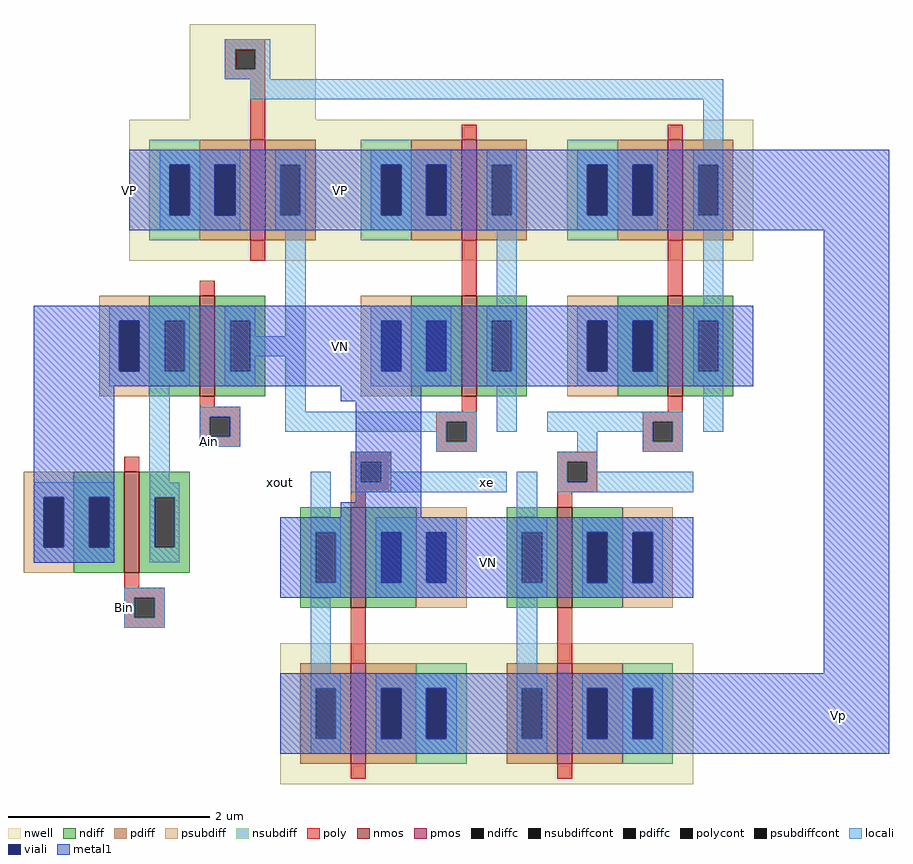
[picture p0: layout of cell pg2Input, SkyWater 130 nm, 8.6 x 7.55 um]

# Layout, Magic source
magic
tech sky130A
<< nwell >>
rect -155 325 -30 420
rect -215 185 -5 325
<< nmos >>
rect -145 50 -130 150
rect -220 -125 -205 -25
<< pmos >>
rect -95 205 -80 305
<< ndiff >>
rect -195 125 -145 150
rect -195 75 -180 125
rect -160 75 -145 125
rect -195 50 -145 75
rect -130 125 -80 150
rect -130 75 -115 125
rect -95 75 -80 125
rect -130 50 -80 75
rect -270 -50 -220 -25
rect -270 -100 -255 -50
rect -235 -100 -220 -50
rect -270 -125 -220 -100
rect -205 -50 -155 -25
rect -205 -100 -190 -50
rect -170 -100 -155 -50
rect -205 -125 -155 -100
<< pdiff >>
rect -145 280 -95 305
rect -145 230 -130 280
rect -110 230 -95 280
rect -145 205 -95 230
rect -80 280 -30 305
rect -80 230 -65 280
rect -45 230 -30 280
rect -80 205 -30 230
<< ndiffc >>
rect -180 75 -160 125
rect -115 75 -95 125
rect -255 -100 -235 -50
rect -190 -100 -170 -50
<< pdiffc >>
rect -130 230 -110 280
rect -65 230 -45 280
<< psubdiff >>
rect -245 125 -195 150
rect -245 75 -225 125
rect -205 75 -195 125
rect -245 50 -195 75
rect -320 -50 -270 -25
rect -320 -100 -300 -50
rect -280 -100 -270 -50
rect -320 -125 -270 -100
<< nsubdiff >>
rect -195 280 -145 305
rect -195 230 -175 280
rect -155 230 -145 280
rect -195 205 -145 230
<< psubdiffcont >>
rect -225 75 -205 125
rect -300 -100 -280 -50
<< nsubdiffcont >>
rect -175 230 -155 280
<< poly >>
rect -120 395 -80 405
rect -120 375 -110 395
rect -90 375 -80 395
rect -120 365 -80 375
rect -95 305 -80 365
rect -95 185 -80 205
rect -145 150 -130 165
rect -145 40 -130 50
rect -145 30 -105 40
rect -145 10 -135 30
rect -115 10 -105 30
rect -145 0 -105 10
rect -220 -25 -205 -10
rect -220 -140 -205 -125
rect -220 -150 -180 -140
rect -220 -170 -210 -150
rect -190 -170 -180 -150
rect -220 -180 -180 -170
<< polycont >>
rect -110 375 -90 395
rect -135 10 -115 30
rect -210 -170 -190 -150
<< locali >>
rect -120 395 -75 405
rect -120 375 -110 395
rect -90 375 -75 395
rect -120 365 -75 375
rect -95 345 375 365
rect 355 295 375 345
rect -185 280 -105 295
rect -185 230 -175 280
rect -155 230 -130 280
rect -110 230 -105 280
rect -185 215 -105 230
rect -70 280 -40 295
rect -70 230 -65 280
rect -45 230 -40 280
rect -70 215 -40 230
rect -235 125 -155 140
rect -235 75 -225 125
rect -205 75 -180 125
rect -160 75 -155 125
rect -235 60 -155 75
rect -120 125 -90 140
rect -120 75 -115 125
rect -95 110 -90 125
rect -60 110 -40 215
rect -95 90 -40 110
rect -95 75 -90 90
rect -120 60 -90 75
rect -195 -35 -175 60
rect -145 30 -105 40
rect -145 10 -135 30
rect -115 10 -105 30
rect -60 35 -40 90
rect -60 15 -5 35
rect 10 15 20 35
rect -145 0 -105 10
rect 230 -15 250 25
rect -310 -50 -230 -35
rect -310 -100 -300 -50
rect -280 -100 -255 -50
rect -235 -100 -230 -50
rect -310 -115 -230 -100
rect -195 -50 -165 -35
rect 140 -45 160 -25
rect -195 -100 -190 -50
rect -170 -100 -165 -50
rect -195 -115 -165 -100
rect -220 -150 -180 -140
rect -220 -170 -210 -150
rect -190 -170 -180 -150
rect -220 -180 -180 -170
<< viali >>
rect -175 230 -155 280
rect -130 230 -110 280
rect -225 75 -205 125
rect -300 -100 -280 -50
rect -255 -100 -235 -50
<< metal1 >>
rect -215 280 -5 295
rect -215 230 -175 280
rect -155 230 -130 280
rect -110 230 -5 280
rect -215 220 -5 230
rect -215 215 20 220
rect 405 215 540 295
rect -310 125 105 140
rect -310 75 -225 125
rect -205 75 105 125
rect -310 60 105 75
rect -310 -50 -230 60
rect -5 45 75 60
rect -310 -100 -300 -50
rect -280 -100 -255 -50
rect -235 -100 -230 -50
rect 10 -55 75 45
rect -310 -115 -230 -100
rect -5 -70 75 -55
rect -5 -150 140 -70
rect 475 -225 540 215
rect 345 -305 540 -225
use inverter  inverter_1 /neural-stationary/Layout
transform 1 0 345 0 1 70
box -145 -75 60 255
use inverter  inverter_0
transform 1 0 140 0 1 70
box -145 -75 60 255
use inverter  inverter_2
transform -1 0 200 0 -1 -80
box -145 -75 60 255
use inverter  inverter_3
transform -1 0 -5 0 -1 -80
box -145 -75 60 255
<< labels >>
rlabel metal1 -5 255 -5 255 7 VP
rlabel locali 140 -35 140 -35 7 xe
rlabel metal1 -215 255 -215 255 7 VP
rlabel metal1 -5 100 -5 100 7 VN
rlabel space -65 -35 -65 -35 7 xout
port 3 w
rlabel metal1 489 -267 489 -267 7 Vp
port 2 w
rlabel space 142 -115 142 -115 7 VN
port 1 w
rlabel locali -135 5 -135 5 7 Ain
port 0 w
rlabel locali -220 -160 -220 -160 7 Bin
port 5 w
rlabel locali -220 -160 -220 -160 1 bin
port 6 n
<< end >>

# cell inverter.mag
magic
tech sky130A
<< nwell >>
rect -145 115 60 255
<< nmos >>
rect -25 -20 -10 80
<< pmos >>
rect -25 135 -10 235
<< ndiff >>
rect -75 55 -25 80
rect -75 5 -60 55
rect -40 5 -25 55
rect -75 -20 -25 5
rect -10 55 40 80
rect -10 5 5 55
rect 25 5 40 55
rect -10 -20 40 5
<< pdiff >>
rect -75 210 -25 235
rect -75 160 -60 210
rect -40 160 -25 210
rect -75 135 -25 160
rect -10 210 40 235
rect -10 160 5 210
rect 25 160 40 210
rect -10 135 40 160
<< ndiffc >>
rect -60 5 -40 55
rect 5 5 25 55
<< pdiffc >>
rect -60 160 -40 210
rect 5 160 25 210
<< psubdiff >>
rect -125 55 -75 80
rect -125 5 -105 55
rect -85 5 -75 55
rect -125 -20 -75 5
<< nsubdiff >>
rect -125 210 -75 235
rect -125 160 -105 210
rect -85 160 -75 210
rect -125 135 -75 160
<< psubdiffcont >>
rect -105 5 -85 55
<< nsubdiffcont >>
rect -105 160 -85 210
<< poly >>
rect -25 235 -10 250
rect -25 80 -10 135
rect -25 -35 -10 -20
rect -50 -45 -10 -35
rect -50 -65 -40 -45
rect -20 -65 -10 -45
rect -50 -75 -10 -65
<< polycont >>
rect -40 -65 -20 -45
<< locali >>
rect -115 210 -35 225
rect -115 160 -105 210
rect -85 160 -60 210
rect -40 160 -35 210
rect -115 145 -35 160
rect 0 210 30 225
rect 0 160 5 210
rect 25 160 30 210
rect 0 145 30 160
rect 10 70 30 145
rect -115 55 -35 70
rect -115 5 -105 55
rect -85 5 -60 55
rect -40 5 -35 55
rect -115 -10 -35 5
rect 0 55 30 70
rect 0 5 5 55
rect 25 5 30 55
rect 0 -10 30 5
rect -145 -45 -10 -35
rect -145 -55 -40 -45
rect -50 -65 -40 -55
rect -20 -65 -10 -45
rect 10 -55 30 -10
rect -50 -75 -10 -65
<< viali >>
rect -105 160 -85 210
rect -60 160 -40 210
rect -105 5 -85 55
rect -60 5 -40 55
<< metal1 >>
rect -145 210 60 225
rect -145 160 -105 210
rect -85 160 -60 210
rect -40 160 60 210
rect -145 145 60 160
rect -145 55 60 70
rect -145 5 -105 55
rect -85 5 -60 55
rect -40 5 60 55
rect -145 -10 60 5
<< labels >>
rlabel locali -145 -45 -145 -45 7 A
port 1 w
rlabel locali 23 -33 23 -33 1 Y
port 2 n
rlabel metal1 -141 185 -141 185 3 VP
port 3 e
rlabel metal1 -138 26 -138 26 1 VN
port 4 n
<< end >>
